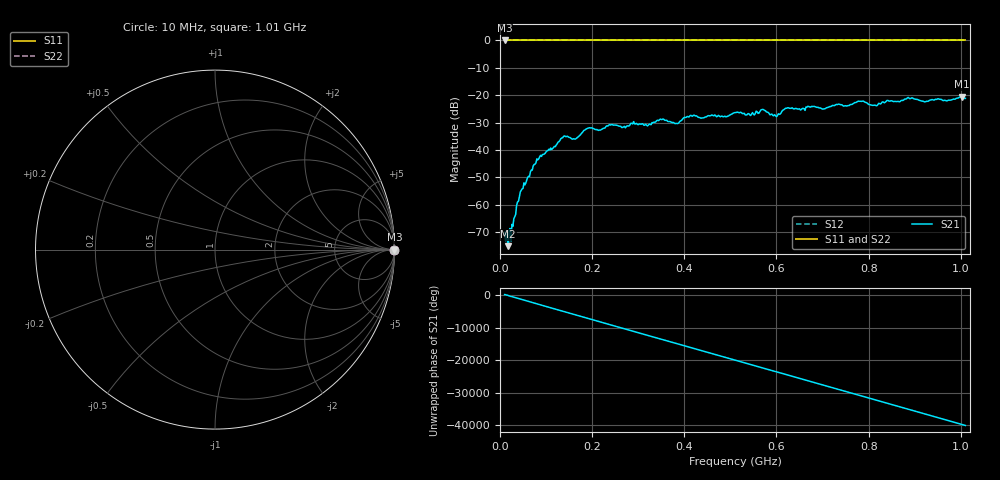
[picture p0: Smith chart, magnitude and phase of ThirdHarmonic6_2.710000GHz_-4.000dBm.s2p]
! 8/17/2025 6:32:28 AM
! C:\ANRITSUVNA\TEMP\TEMP.S2P
! CHANNEL.1
! TR.MEASUREMENT
! RAW.DATA
! RF.CORRECTION.OFF
! AVERAGING.OFF
! IF.BANDWIDTH: 5KHZ
! SWEEPTYPE:  FREQ.SWEEP(Linear)
! Reference Plane Port Info
! PORT:  PORT1  PORT2
! DISTANCE:  0  m  0  m
! TIME:  0  s  0  s
! PHASE.OFFSET:  0  deg.  0  deg.
! LOSS:  0  dB  0  dB
! REF.LOSS:  0  dB  0  dB
! REF.FREQ:  0  Hz  0  Hz
! Power Info
! POWER:  -20  dBm  -20  dBm
! EFF.POWER:  -20  dBm  -20  dBm
! SOURCE.ATTEN:  0  dB  0  dB
! TEST.ATTEN:  0  dB  0  dB
# GHZ S RI R 50.0
! FREQ.GHZ  S11RE  S11IM  S21RE  S21IM  S12RE  S12IM  S22RE  S22IM
!; PortSelection: Port_12
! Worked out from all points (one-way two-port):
!   501 points, 10 MHz to 1.01 GHz, reference 50 ohm
!   highest |S21| = -20.57 dB at 1.002 GHz (marker M1); lowest = -75.2 dB at 18 MHz (marker M2)
!   lowest |S11| = 0.0 dB at 10 MHz (marker M3)
!   |S11| at or under -10 dB: nowhere
!   |S22| runs from 0.0 to 0.0 dB; largest |S21 - S12| = 1.1
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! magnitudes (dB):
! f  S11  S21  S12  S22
! 10 MHz  0.0  -70.1  0.0  0.0
! 14 MHz  0.0  -69.6  0.0  0.0
! 18 MHz  0.0  -75.2  0.0  0.0
! 20 MHz  0.0  -69.4  0.0  0.0
! 28 MHz  0.0  -67.9  0.0  0.0
! 40 MHz  0.0  -58.8  0.0  0.0
! 48 MHz  0.0  -54.2  0.0  0.0
! 84 MHz  0.0  -43.3  0.0  0.0
! 136 MHz  0.0  -35.6  0.0  0.0
! 162 MHz  0.0  -36.0  0.0  0.0
! 178 MHz  0.0  -33.7  0.0  0.0
! 344 MHz  0.0  -29.3  0.0  0.0
! 384 MHz  0.0  -30.3  0.0  0.0
! 416 MHz  0.0  -27.6  0.0  0.0
! 510 MHz  0.0  -26.4  0.0  0.0
! 570 MHz  0.0  -25.2  0.0  0.0
! 598 MHz  0.0  -27.5  0.0  0.0
! 622 MHz  0.0  -24.8  0.0  0.0
! 678 MHz  0.0  -24.2  0.0  0.0
! 844 MHz  0.0  -22.1  0.0  0.0
! 1.002 GHz  0.0  -20.6  0.0  0.0
! 1.01 GHz  0.0  -21.2  0.0  0.0
